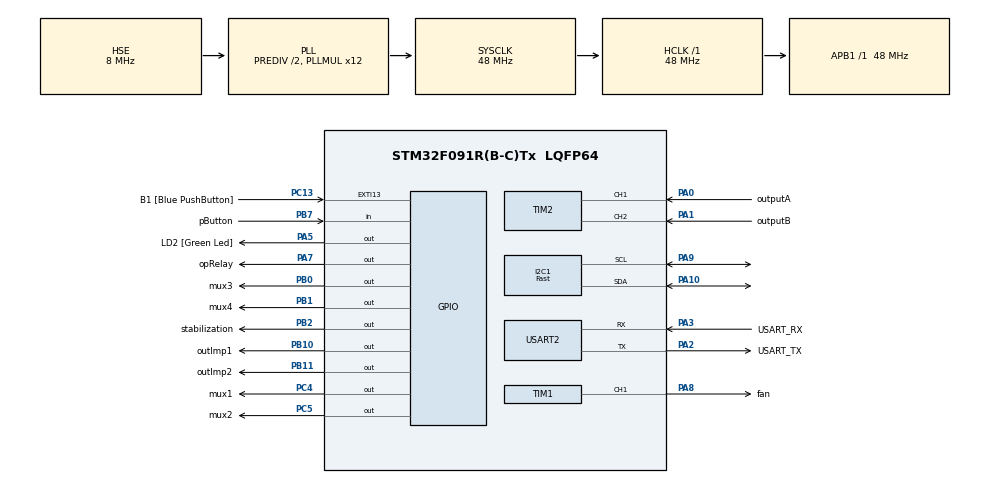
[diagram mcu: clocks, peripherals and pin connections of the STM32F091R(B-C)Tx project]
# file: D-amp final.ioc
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I2C1.I2C_Speed_Mode=I2C_Fast
I2C1.Timing=0x0000020B
Mcu.Family=STM32F0
Mcu.Name=STM32F091R(B-C)Tx
Mcu.Package=LQFP64
NVIC.TIM2_IRQn=true\:0\:0\:false\:false\:true\:true\:true
NVIC.TIM3_IRQn=true\:0\:0\:false\:false\:true\:true\:true
PA0.GPIO_Label=outputA
PA0.Signal=S_TIM2_CH1_ETR
PA1.GPIO_Label=outputB
PA1.Signal=S_TIM2_CH2
PA10.Mode=I2C
PA10.Signal=I2C1_SDA
PA13.GPIO_Label=TMS
PA13.Mode=Serial_Wire
PA13.Signal=SYS_SWDIO
PA14.GPIO_Label=TCK
PA14.Mode=Serial_Wire
PA14.Signal=SYS_SWCLK
PA2.GPIO_Label=USART_TX
PA2.GPIO_Mode=GPIO_MODE_AF_PP
PA2.GPIO_PuPd=GPIO_NOPULL
PA2.GPIO_Speed=GPIO_SPEED_FREQ_LOW
PA2.Mode=Asynchronous
PA2.Signal=USART2_TX
PA3.GPIO_Label=USART_RX
PA3.GPIO_Mode=GPIO_MODE_AF_PP
PA3.GPIO_PuPd=GPIO_NOPULL
PA3.GPIO_Speed=GPIO_SPEED_FREQ_LOW
PA3.Mode=Asynchronous
PA3.Signal=USART2_RX
PA5.GPIO_Label=LD2 [Green Led]
PA5.GPIO_Mode=GPIO_MODE_OUTPUT_PP
PA5.GPIO_PuPd=GPIO_NOPULL
PA5.GPIO_Speed=GPIO_SPEED_FREQ_LOW
PA5.Signal=GPIO_Output
PA7.GPIO_Label=opRelay
PA7.Signal=GPIO_Output
PA8.GPIO_Label=fan
PA8.Signal=S_TIM1_CH1
PA9.Mode=I2C
PA9.Signal=I2C1_SCL
PB0.GPIO_Label=mux3
PB0.Signal=GPIO_Output
PB1.GPIO_Label=mux4
PB1.Signal=GPIO_Output
PB10.GPIO_Label=outImp1
PB10.Signal=GPIO_Output
PB11.GPIO_Label=outImp2
PB11.Signal=GPIO_Output
PB2.GPIO_Label=stabilization
PB2.Signal=GPIO_Output
PB7.GPIO_Label=pButton
PB7.Signal=GPIO_Input
PC13.GPIO_Label=B1 [Blue PushButton]
PC13.GPIO_ModeDefaultEXTI=GPIO_MODE_IT_FALLING
PC13.Signal=GPXTI13
PC14OSC32_IN.Mode=LSE-External-Oscillator
PC14OSC32_IN.Signal=RCC_OSC32_IN
PC15OSC32_OUT.Mode=LSE-External-Oscillator
PC15OSC32_OUT.Signal=RCC_OSC32_OUT
PC4.GPIO_Label=mux1
PC4.Signal=GPIO_Output
PC5.GPIO_Label=mux2
PC5.Signal=GPIO_Output
PF0-OSC_IN.Mode=HSE-External-Oscillator
PF0-OSC_IN.Signal=RCC_OSC_IN
PF1-OSC_OUT.Mode=HSE-External-Oscillator
PF1-OSC_OUT.Signal=RCC_OSC_OUT
ProjectManager.HeapSize=0x200
ProjectManager.StackSize=0x400
ProjectManager.TargetToolchain=STM32CubeIDE
RCC.AHBFreq_Value=48000000
RCC.APB1Freq_Value=48000000
RCC.APB1TimFreq_Value=48000000
RCC.FLatency-AdvancedSettings=FLASH_LATENCY_1
RCC.HCLKFreq_Value=48000000
RCC.PLLDivider=RCC_PREDIV_DIV2
RCC.PLLMUL=RCC_PLL_MUL12
RCC.PLLSourceVirtual=RCC_PLLSOURCE_HSE
RCC.PREFETCH_ENABLE-AdvancedSettings=1
RCC.SYSCLKFreq_VALUE=48000000
RCC.SYSCLKSource=RCC_SYSCLKSOURCE_PLLCLK
SH.S_TIM1_CH1.0=TIM1_CH1,PWM Generation1 CH1
SH.S_TIM2_CH1_ETR.0=TIM2_CH1,Encoder_Interface
SH.S_TIM2_CH2.0=TIM2_CH2,Encoder_Interface
TIM1.Channel-PWM\ Generation1\ CH1=TIM_CHANNEL_1
TIM2.EncoderMode=TIM_ENCODERMODE_TI12
TIM2.IC1Polarity=TIM_ICPOLARITY_FALLING
TIM2.IC1Prescaler=TIM_ICPSC_DIV1
TIM2.IC2Polarity=TIM_ICPOLARITY_FALLING
TIM3.Period=10000
TIM3.Prescaler=4799
USART2.VirtualMode=VM_ASYNC
USART2.VirtualMode-Asynchronous=VM_ASYNC
VP_TIM3_VS_ClockSourceINT.Mode=Internal
board=NUCLEO-F091RC

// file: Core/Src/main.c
/* USER CODE BEGIN Header */
/**
  ******************************************************************************
  * @file           : main.c
  * @brief          : Main program body
  ******************************************************************************
  * @attention
  *
  * <h2><center>&copy; Copyright (c) 2022 STMicroelectronics.
  * All rights reserved.</center></h2>
  *
  * This software component is licensed by ST under BSD 3-Clause license,
  * the "License"; You may not use this file except in compliance with the
  * License. You may obtain a copy of the License at:
  *                        opensource.org/licenses/BSD-3-Clause
  *
  ******************************************************************************
  */
/* USER CODE END Header */
#include "main.h"
#include "i2c.h"
#include "tim.h"
#include "usart.h"
#include "gpio.h"

/* USER CODE BEGIN Includes */
#include "stdio.h"
#include "string.h"
#include "ssd1306.h"
#include "ssd1306_fonts.h"
#include "functions.h"
/* USER CODE END Includes */

void SystemClock_Config(void);

/* USER CODE BEGIN 0 */
int selection = 0, selectionLastState, gainLastState, relayStatus, stab, stabLastState, fanSpd, fanSpdLastState, tempLastState;
float impedanceLastState;
char gainS[2] = "1", impS[20] = "0.0", relayStatusS[5] = "1", stabS[5] = "OFF", fanSpdS[5] = "0", temp_cS[10] = "0";
volatile uint8_t temp_c;

void HAL_TIM_IC_CaptureCallback(TIM_HandleTypeDef *htim)
{
	if (selection == 0){
	  gain = countGain(htim);
	  if (gain != gainLastState){
		  sprintf(gainS, "%d", gain);
		  relayStatus = amplify(gain);
		  sprintf(relayStatusS, "%d", relayStatus);
		  print(gainS, impS, relayStatusS, stabS, fanSpdS, selection, temp_cS);
		  gainLastState = gain;
		  }
	  }
	  else if (selection == 1){
		  impedance = countImpedance(htim);
		  sprintf(impS, "%.1f", impedance);
		  if(impedance != impedanceLastState){
			  outImp(impedance);
			  print(gainS, impS, relayStatusS, stabS, fanSpdS, selection, temp_cS);
			  impedanceLastState = impedance;
		  }
	  }
	  else{
		  stab = countStab(htim);
		  if (stab != stabLastState){
			  if (stab == 1){
				  strcpy(stabS, "ON");
				  HAL_GPIO_WritePin(stabilization_GPIO_Port, stabilization_Pin, GPIO_PIN_SET);
			  }
			  else{
				  strcpy(stabS, "OFF");
				  HAL_GPIO_WritePin(stabilization_GPIO_Port, stabilization_Pin, GPIO_PIN_RESET);
			  }
			  print(gainS, impS, relayStatusS, stabS, fanSpdS, selection, temp_cS);
			  stabLastState = stab;
		  }
	  }
}

/* USER CODE END 0 */

int main(void)
{

  /* MCU Configuration--------------------------------------------------------*/

  /* Reset of all peripherals, Initializes the Flash interface and the Systick. */
  HAL_Init();

  /* Configure the system clock */
  SystemClock_Config();

  /* Initialize all configured peripherals */
  MX_GPIO_Init();
  MX_USART2_UART_Init();
  MX_I2C1_Init();
  MX_TIM2_Init();
  MX_TIM1_Init();
  MX_TIM3_Init();
  /* USER CODE BEGIN 2 */
  HAL_TIM_Encoder_Start_IT(&htim2, TIM_CHANNEL_ALL); // Create interrupt for rotary encoder with timer2
  HAL_TIM_PWM_Start(&htim1, TIM_CHANNEL_1); // Start pwm for fan with timer1
  if (HAL_TIM_Base_Start_IT(&htim3) != HAL_OK)
  {
    /* Starting Error */
    Error_Handler();
  }

  ssd1306_Init(); //Screen initialization

  ssd1306_Fill(White);
  ssd1306_DrawBitmap(0, 0, afry_128x64, 128, 64, Black); // Show AFRY logo for 3 seconds
  ssd1306_UpdateScreen(); // Send picture to screen
  HAL_Delay(3000);
  ssd1306_Fill(Black);
  ssd1306_SetCursor(0, 0);
  ssd1306_WriteString("Turn knob", Font_11x18, White);
  ssd1306_SetCursor(0, 19);
  ssd1306_WriteString("to start", Font_11x18, White);
  ssd1306_UpdateScreen();
  // Screen now shows "Turn knob to start" and the program wont proceed
  // until user has triggered an interrupt with the knob

  /* USER CODE END 2 */

  /* Infinite loop */
  /* USER CODE BEGIN WHILE */
  while (1)
  {
	  if (temp_c != tempLastState && temp_c < 150){
		  fanSpd = fanCtrl(&htim1, temp_c);
		  sprintf(temp_cS, "%u C", temp_c);
		  sprintf(fanSpdS, "%d", fanSpd);
		  print(gainS, impS, relayStatusS, stabS, fanSpdS, selection, temp_cS);
		  tempLastState = temp_c;
	  }
	  else if (temp_c != tempLastState && temp_c >= 150){
		  fanCtrl(&htim1, temp_c);
		  tempWarning(temp_c);
		  tempLastState = temp_c;
	  }

	  selection = pbSelection();
	  if (selection != selectionLastState){
		  print(gainS, impS, relayStatusS, stabS, fanSpdS, selection, temp_cS);
		  selectionLastState = selection;
	  }
    /* USER CODE END WHILE */

  }
}

void SystemClock_Config(void)
{
  RCC_OscInitTypeDef RCC_OscInitStruct = {0};
  RCC_ClkInitTypeDef RCC_ClkInitStruct = {0};
  RCC_PeriphCLKInitTypeDef PeriphClkInit = {0};

  /** Initializes the RCC Oscillators according to the specified parameters
  * in the RCC_OscInitTypeDef structure.
  */
  RCC_OscInitStruct.OscillatorType = RCC_OSCILLATORTYPE_HSI|RCC_OSCILLATORTYPE_HSE;
  RCC_OscInitStruct.HSEState = RCC_HSE_ON;
  RCC_OscInitStruct.HSIState = RCC_HSI_ON;
  RCC_OscInitStruct.HSICalibrationValue = RCC_HSICALIBRATION_DEFAULT;
  RCC_OscInitStruct.PLL.PLLState = RCC_PLL_ON;
  RCC_OscInitStruct.PLL.PLLSource = RCC_PLLSOURCE_HSE;
  RCC_OscInitStruct.PLL.PLLMUL = RCC_PLL_MUL12;
  RCC_OscInitStruct.PLL.PREDIV = RCC_PREDIV_DIV2;
  if (HAL_RCC_OscConfig(&RCC_OscInitStruct) != HAL_OK)
  {
    Error_Handler();
  }
  /** Initializes the CPU, AHB and APB buses clocks
  */
  RCC_ClkInitStruct.ClockType = RCC_CLOCKTYPE_HCLK|RCC_CLOCKTYPE_SYSCLK
                              |RCC_CLOCKTYPE_PCLK1;
  RCC_ClkInitStruct.SYSCLKSource = RCC_SYSCLKSOURCE_PLLCLK;
  RCC_ClkInitStruct.AHBCLKDivider = RCC_SYSCLK_DIV1;
  RCC_ClkInitStruct.APB1CLKDivider = RCC_HCLK_DIV1;

  if (HAL_RCC_ClockConfig(&RCC_ClkInitStruct, FLASH_LATENCY_1) != HAL_OK)
  {
    Error_Handler();
  }
  PeriphClkInit.PeriphClockSelection = RCC_PERIPHCLK_USART2|RCC_PERIPHCLK_I2C1;
  PeriphClkInit.Usart2ClockSelection = RCC_USART2CLKSOURCE_PCLK1;
  PeriphClkInit.I2c1ClockSelection = RCC_I2C1CLKSOURCE_HSI;
  if (HAL_RCCEx_PeriphCLKConfig(&PeriphClkInit) != HAL_OK)
  {
    Error_Handler();
  }
}

void Error_Handler(void)
{
  __disable_irq();
  while (1)
  {
  }
}

/************************ (C) COPYRIGHT STMicroelectronics *****END OF FILE****/
